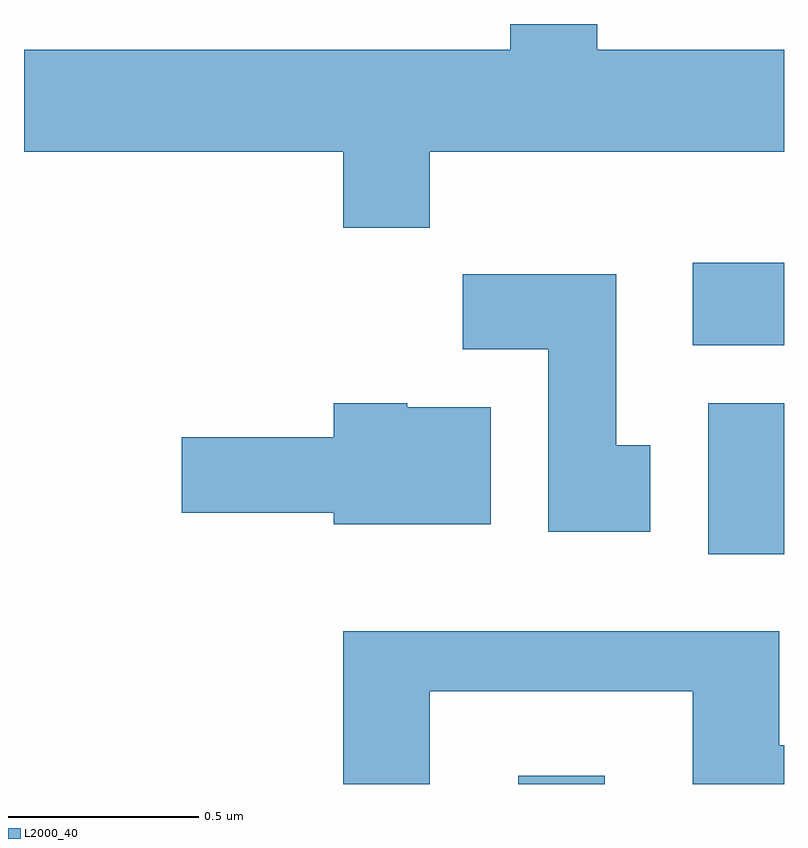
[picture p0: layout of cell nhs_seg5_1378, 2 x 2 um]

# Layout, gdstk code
import gdstk
lib = gdstk.Library(unit=1e-6, precision=1e-09)
def R(c, l, rs):  # rectangles x0, y0, x1, y1
    for r in rs: c.add(gdstk.rectangle(r[:2], r[2:], *l))
def P(c, l, *ps):  # polygons
    for p in ps: c.add(gdstk.Polygon(p, *l))
L2000_40 = (2000, 40)

nhs_seg5_1378 = lib.new_cell('nhs_seg5_1378')
R(nhs_seg5_1378, L2000_40, [(196.911,1404.072,197.139,1404.094), (197.411,1404.676,197.611,1405.074), (197.371,1405.226,197.611,1405.444)])
P(nhs_seg5_1378, L2000_40, [(196.679,1405.736),(197.611,1405.736),(197.611,1406.004),(197.119,1406.004),(197.119,1406.072),(196.891,1406.072),(196.891,1406.004),(195.611,1406.004),(195.611,1405.736),(196.451,1405.736),(196.451,1405.536),(196.679,1405.536)],
  [(197.259,1404.964),(197.169,1404.964),(197.169,1405.414),(196.766,1405.414),(196.766,1405.216),(196.991,1405.216),(196.991,1404.736),(197.259,1404.736)],
  [(196.839,1405.064),(196.62,1405.064),(196.62,1405.074),(196.426,1405.074),(196.426,1404.984),(196.026,1404.984),(196.026,1404.786),(196.426,1404.786),(196.426,1404.756),(196.839,1404.756)],
  [(196.679,1404.316),(197.371,1404.316),(197.371,1404.072),(197.611,1404.072),(197.611,1404.174),(197.599,1404.174),(197.599,1404.474),(196.451,1404.474),(196.451,1404.072),(196.679,1404.072)])

lib.write_gds('nhs_seg5_1378.gds')
